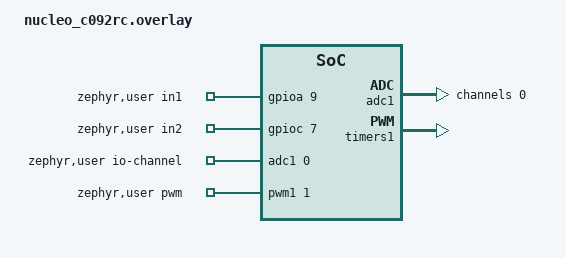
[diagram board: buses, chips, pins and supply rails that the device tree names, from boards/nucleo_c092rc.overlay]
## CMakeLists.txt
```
cmake_minimum_required(VERSION 3.20.0)
find_package(Zephyr REQUIRED HINTS $ENV{ZEPHYR_BASE})
project(motor_pot_demo)

target_sources(app PRIVATE src/main.c)
```

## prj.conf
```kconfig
# Drivers
CONFIG_GPIO=y
CONFIG_ADC=y
CONFIG_PWM=y

# Logging
CONFIG_LOG=y
CONFIG_LOG_MODE_MINIMAL=y
CONFIG_PRINTK=y

# Floating point not needed; we use integer math
CONFIG_FPU=n

# Reasonable main stack
CONFIG_MAIN_STACK_SIZE=2048
```

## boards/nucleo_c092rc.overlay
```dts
/*
 * Overlay for nucleo_c092rc: potentiometer on A0, H-bridge on D7/D8/D9.
 *
 * Arduino header mapping used:
 *   A0  -> PA0  -> ADC1 channel 0   (potentiometer wiper)
 *   D9  -> PA8  -> TIM1_CH1 (PWM)   (H-bridge ENABLE / PWM speed input)
 *   D8  -> PA9                       (H-bridge IN1, direction)
 *   D7  -> PC7                       (H-bridge IN2, direction)
 */

/ {
	zephyr,user {
		/* ADC channel for the potentiometer */
		io-channels = <&adc1 0>;

		/* PWM for the H-bridge ENABLE pin (period = 50 us -> 20 kHz, above audible) */
		pwms = <&pwm1 1 PWM_USEC(50) PWM_POLARITY_NORMAL>;

		/* Direction control GPIOs */
		in1-gpios = <&gpioa 9 GPIO_ACTIVE_HIGH>;
		in2-gpios = <&gpioc 7 GPIO_ACTIVE_HIGH>;
	};
};

&adc1 {
	#address-cells = <1>;
	#size-cells = <0>;
	status = "okay";

	channel@0 {
		reg = <0>;
		zephyr,gain = "ADC_GAIN_1";
		zephyr,reference = "ADC_REF_INTERNAL";
		zephyr,acquisition-time = <ADC_ACQ_TIME(ADC_ACQ_TIME_MICROSECONDS, 5)>;
		zephyr,resolution = <12>;
	};
};

/* TIM1 channel 1 -> PA8 (Arduino D9 on the C092RC Nucleo) */
&timers1 {
	status = "okay";
	st,prescaler = <0>;

	pwm1: pwm {
		status = "okay";
		pinctrl-0 = <&tim1_ch1_pa8>;
		pinctrl-names = "default";
	};
};
```

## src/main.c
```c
/*
 * NUCLEO-C092RC: Potentiometer-controlled DC motor via H-bridge (EN + IN1/IN2).
 *
 * - Pot wiper on A0 sets motor speed and direction.
 * - Center of pot travel = stop (with deadband).
 * - Below center = reverse, above center = forward.
 * - Magnitude scales linearly from deadband edge to either endpoint.
 */

#include <zephyr/kernel.h>
#include <zephyr/device.h>
#include <zephyr/drivers/adc.h>
#include <zephyr/drivers/pwm.h>
#include <zephyr/drivers/gpio.h>
#include <zephyr/logging/log.h>
#include <stdlib.h>

LOG_MODULE_REGISTER(motor_pot, LOG_LEVEL_INF);

/* ---------- Devicetree handles ---------- */

#define ZEPHYR_USER DT_PATH(zephyr_user)

static const struct adc_dt_spec adc_pot =
	ADC_DT_SPEC_GET(ZEPHYR_USER);

static const struct pwm_dt_spec pwm_en =
	PWM_DT_SPEC_GET(ZEPHYR_USER);

static const struct gpio_dt_spec in1 =
	GPIO_DT_SPEC_GET(ZEPHYR_USER, in1_gpios);

static const struct gpio_dt_spec in2 =
	GPIO_DT_SPEC_GET(ZEPHYR_USER, in2_gpios);

/* ---------- Tunables ---------- */

#define ADC_RESOLUTION   12
#define ADC_MAX          ((1 << ADC_RESOLUTION) - 1)   /* 4095 */
#define ADC_CENTER       (ADC_MAX / 2)                 /* 2047 */

/* Deadband around the center, in raw ADC counts. ~5% of full range.
 * Increase if your pot is noisy or has mechanical slop at center.
 */
#define ADC_DEADBAND     200

/* Update period for the control loop. */
#define LOOP_PERIOD_MS   20

/* ---------- Direction control ---------- */

enum motor_dir {
	DIR_STOP,
	DIR_FORWARD,
	DIR_REVERSE,
};

static int set_direction(enum motor_dir d)
{
	int rc;

	switch (d) {
	case DIR_FORWARD:
		rc = gpio_pin_set_dt(&in1, 1);
		if (rc) return rc;
		rc = gpio_pin_set_dt(&in2, 0);
		break;
	case DIR_REVERSE:
		rc = gpio_pin_set_dt(&in1, 0);
		if (rc) return rc;
		rc = gpio_pin_set_dt(&in2, 1);
		break;
	case DIR_STOP:
	default:
		/* Coast: both inputs low. For active braking, set both high. */
		rc = gpio_pin_set_dt(&in1, 0);
		if (rc) return rc;
		rc = gpio_pin_set_dt(&in2, 0);
		break;
	}
	return rc;
}

/* ---------- Speed control ----------
 *
 * Sets the PWM duty cycle as a fraction of the configured period.
 * `magnitude` is a value in [0, ADC_CENTER - ADC_DEADBAND].
 */
static int set_speed(uint32_t magnitude, uint32_t span)
{
	if (span == 0) {
		return pwm_set_pulse_dt(&pwm_en, 0);
	}
	if (magnitude > span) {
		magnitude = span;
	}

	/* Scale magnitude to the PWM period.
	 * Use 64-bit math to avoid overflow: period in ns can be large.
	 */
	uint64_t pulse = ((uint64_t)pwm_en.period * magnitude) / span;
	return pwm_set_pulse_dt(&pwm_en, (uint32_t)pulse);
}

/* ---------- Setup ---------- */

static int setup(void)
{
	int rc;

	if (!adc_is_ready_dt(&adc_pot)) {
		LOG_ERR("ADC not ready");
		return -ENODEV;
	}
	rc = adc_channel_setup_dt(&adc_pot);
	if (rc) {
		LOG_ERR("adc_channel_setup_dt failed: %d", rc);
		return rc;
	}

	if (!pwm_is_ready_dt(&pwm_en)) {
		LOG_ERR("PWM not ready");
		return -ENODEV;
	}

	if (!gpio_is_ready_dt(&in1) || !gpio_is_ready_dt(&in2)) {
		LOG_ERR("Direction GPIOs not ready");
		return -ENODEV;
	}
	rc = gpio_pin_configure_dt(&in1, GPIO_OUTPUT_INACTIVE);
	if (rc) {
		LOG_ERR("gpio_pin_configure_dt(in1) failed: %d", rc);
		return rc;
	}
	rc = gpio_pin_configure_dt(&in2, GPIO_OUTPUT_INACTIVE);
	if (rc) {
		LOG_ERR("gpio_pin_configure_dt(in2) failed: %d", rc);
		return rc;
	}

	/* Make sure the motor is stopped before we enter the loop. */
	(void)set_direction(DIR_STOP);
	(void)pwm_set_pulse_dt(&pwm_en, 0);

	return 0;
}

/* ---------- Main loop ---------- */

int main(void)
{
	int rc;
	int16_t sample_buffer;

	struct adc_sequence sequence = {
		.buffer      = &sample_buffer,
		.buffer_size = sizeof(sample_buffer),
	};

	rc = setup();
	if (rc) {
		LOG_ERR("setup failed: %d", rc);
		return rc;
	}

	rc = adc_sequence_init_dt(&adc_pot, &sequence);
	if (rc) {
		LOG_ERR("adc_sequence_init_dt failed: %d", rc);
		return rc;
	}

	LOG_INF("Motor controller running. ADC center=%d, deadband=+/-%d",
		ADC_CENTER, ADC_DEADBAND);

	const uint32_t span = ADC_CENTER - ADC_DEADBAND; /* effective half-range */

	while (1) {
		rc = adc_read_dt(&adc_pot, &sequence);
		if (rc) {
			LOG_WRN("adc_read_dt failed: %d", rc);
			k_msleep(LOOP_PERIOD_MS);
			continue;
		}

		/* Single-ended channel: clamp to non-negative. */
		int32_t raw = sample_buffer;
		if (raw < 0) raw = 0;
		if (raw > ADC_MAX) raw = ADC_MAX;

		int32_t offset = raw - ADC_CENTER;          /* -2047 .. +2048 */
		uint32_t mag   = (uint32_t)abs(offset);

		enum motor_dir dir;
		uint32_t scaled_mag;

		if (mag <= ADC_DEADBAND) {
			dir        = DIR_STOP;
			scaled_mag = 0;
		} else {
			dir        = (offset > 0) ? DIR_FORWARD : DIR_REVERSE;
			scaled_mag = mag - ADC_DEADBAND; /* 0 at edge of deadband */
		}

		(void)set_direction(dir);
		(void)set_speed(scaled_mag, span);

		LOG_DBG("raw=%4d off=%+5d dir=%d duty=%u/%u",
			raw, offset, dir, scaled_mag, span);

		k_msleep(LOOP_PERIOD_MS);
	}

	return 0;
}
```
